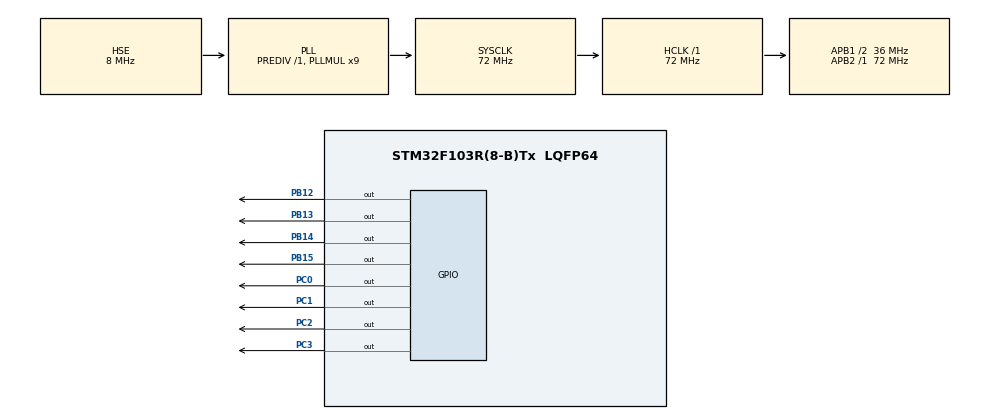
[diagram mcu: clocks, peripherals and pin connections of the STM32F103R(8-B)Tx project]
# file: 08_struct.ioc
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Mcu.Family=STM32F1
Mcu.Name=STM32F103R(8-B)Tx
Mcu.Package=LQFP64
NVIC.PriorityGroup=NVIC_PRIORITYGROUP_4
PB12.Signal=GPIO_Output
PB13.Signal=GPIO_Output
PB14.Signal=GPIO_Output
PB15.Signal=GPIO_Output
PC0.Signal=GPIO_Output
PC1.Signal=GPIO_Output
PC14-OSC32_IN.Mode=LSE-External-Oscillator
PC14-OSC32_IN.Signal=RCC_OSC32_IN
PC15-OSC32_OUT.Mode=LSE-External-Oscillator
PC15-OSC32_OUT.Signal=RCC_OSC32_OUT
PC2.Signal=GPIO_Output
PC3.Signal=GPIO_Output
PD0-OSC_IN.Mode=HSE-External-Clock-Source
PD0-OSC_IN.Signal=RCC_OSC_IN
PD1-OSC_OUT.Mode=HSE-External-Clock-Source
PD1-OSC_OUT.Signal=RCC_OSC_OUT
ProjectManager.HeapSize=0x200
ProjectManager.StackSize=0x400
ProjectManager.TargetToolchain=STM32CubeIDE
RCC.AHBFreq_Value=72000000
RCC.APB1CLKDivider=RCC_HCLK_DIV2
RCC.APB1Freq_Value=36000000
RCC.APB1TimFreq_Value=72000000
RCC.APB2Freq_Value=72000000
RCC.APB2TimFreq_Value=72000000
RCC.HCLKFreq_Value=72000000
RCC.PLLMUL=RCC_PLL_MUL9
RCC.PLLSourceVirtual=RCC_PLLSOURCE_HSE
RCC.SYSCLKFreq_VALUE=72000000
RCC.SYSCLKSource=RCC_SYSCLKSOURCE_PLLCLK
RCC.USBFreq_Value=72000000
board=custom

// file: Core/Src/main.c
/* USER CODE BEGIN Header */
/**
  ******************************************************************************
  * @file           : main.c
  * @brief          : Main program body
  ******************************************************************************
  * @attention
  *
  * Copyright (c) 2023 STMicroelectronics.
  * All rights reserved.
  *
  * This software is licensed under terms that can be found in the LICENSE file
  * in the root directory of this software component.
  * If no LICENSE file comes with this software, it is provided AS-IS.
  *
  ******************************************************************************
  */
/* USER CODE END Header */
#include "main.h"

void SystemClock_Config(void);
static void MX_GPIO_Init(void);

int main(void)
{

  /* MCU Configuration--------------------------------------------------------*/

  /* Reset of all peripherals, Initializes the Flash interface and the Systick. */
  HAL_Init();

  /* Configure the system clock */
  SystemClock_Config();

  /* Initialize all configured peripherals */
  MX_GPIO_Init();
  /* USER CODE BEGIN 2 */
  typedef struct led{
	  GPIO_TypeDef *port;
	  uint16_t pin;
  } LED;
  LED led[8] = {
		  {GPIOC, GPIO_PIN_3}, {GPIOC, GPIO_PIN_2},
		  {GPIOC, GPIO_PIN_1}, {GPIOC, GPIO_PIN_0},
		  {GPIOB, GPIO_PIN_15}, {GPIOB, GPIO_PIN_14},
		  {GPIOB, GPIO_PIN_13}, {GPIOB, GPIO_PIN_12}
  };

  /* USER CODE END 2 */

  /* Infinite loop */
  /* USER CODE BEGIN WHILE */
  while (1)
  {
	  for(uint8_t i=0;i<8;i++){
		  HAL_GPIO_WritePin(led[i].port, led[i].pin, GPIO_PIN_SET);
		  HAL_Delay(100);
		  HAL_GPIO_WritePin(led[i].port, led[i].pin, GPIO_PIN_RESET);
		  HAL_Delay(100);
	  }
	  for(uint8_t i=6;i>0;i--){
		  HAL_GPIO_WritePin(led[i].port, led[i].pin, GPIO_PIN_SET);
	      HAL_Delay(100);
	      HAL_GPIO_WritePin(led[i].port, led[i].pin, GPIO_PIN_RESET);
	      HAL_Delay(100);
	  }

    /* USER CODE END WHILE */

  }
}

void SystemClock_Config(void)
{
  RCC_OscInitTypeDef RCC_OscInitStruct = {0};
  RCC_ClkInitTypeDef RCC_ClkInitStruct = {0};

  /** Initializes the RCC Oscillators according to the specified parameters
  * in the RCC_OscInitTypeDef structure.
  */
  RCC_OscInitStruct.OscillatorType = RCC_OSCILLATORTYPE_HSE;
  RCC_OscInitStruct.HSEState = RCC_HSE_BYPASS;
  RCC_OscInitStruct.HSEPredivValue = RCC_HSE_PREDIV_DIV1;
  RCC_OscInitStruct.HSIState = RCC_HSI_ON;
  RCC_OscInitStruct.PLL.PLLState = RCC_PLL_ON;
  RCC_OscInitStruct.PLL.PLLSource = RCC_PLLSOURCE_HSE;
  RCC_OscInitStruct.PLL.PLLMUL = RCC_PLL_MUL9;
  if (HAL_RCC_OscConfig(&RCC_OscInitStruct) != HAL_OK)
  {
    Error_Handler();
  }

  /** Initializes the CPU, AHB and APB buses clocks
  */
  RCC_ClkInitStruct.ClockType = RCC_CLOCKTYPE_HCLK|RCC_CLOCKTYPE_SYSCLK
                              |RCC_CLOCKTYPE_PCLK1|RCC_CLOCKTYPE_PCLK2;
  RCC_ClkInitStruct.SYSCLKSource = RCC_SYSCLKSOURCE_PLLCLK;
  RCC_ClkInitStruct.AHBCLKDivider = RCC_SYSCLK_DIV1;
  RCC_ClkInitStruct.APB1CLKDivider = RCC_HCLK_DIV2;
  RCC_ClkInitStruct.APB2CLKDivider = RCC_HCLK_DIV1;

  if (HAL_RCC_ClockConfig(&RCC_ClkInitStruct, FLASH_LATENCY_2) != HAL_OK)
  {
    Error_Handler();
  }
}

static void MX_GPIO_Init(void)
{
  GPIO_InitTypeDef GPIO_InitStruct = {0};

  /* GPIO Ports Clock Enable */
  __HAL_RCC_GPIOC_CLK_ENABLE();
  __HAL_RCC_GPIOD_CLK_ENABLE();
  __HAL_RCC_GPIOB_CLK_ENABLE();

  /*Configure GPIO pin Output Level */
  HAL_GPIO_WritePin(GPIOC, GPIO_PIN_0|GPIO_PIN_1|GPIO_PIN_2|GPIO_PIN_3, GPIO_PIN_RESET);

  /*Configure GPIO pin Output Level */
  HAL_GPIO_WritePin(GPIOB, GPIO_PIN_12|GPIO_PIN_13|GPIO_PIN_14|GPIO_PIN_15, GPIO_PIN_RESET);

  /*Configure GPIO pins : PC0 PC1 PC2 PC3 */
  GPIO_InitStruct.Pin = GPIO_PIN_0|GPIO_PIN_1|GPIO_PIN_2|GPIO_PIN_3;
  GPIO_InitStruct.Mode = GPIO_MODE_OUTPUT_PP;
  GPIO_InitStruct.Pull = GPIO_NOPULL;
  GPIO_InitStruct.Speed = GPIO_SPEED_FREQ_LOW;
  HAL_GPIO_Init(GPIOC, &GPIO_InitStruct);

  /*Configure GPIO pins : PB12 PB13 PB14 PB15 */
  GPIO_InitStruct.Pin = GPIO_PIN_12|GPIO_PIN_13|GPIO_PIN_14|GPIO_PIN_15;
  GPIO_InitStruct.Mode = GPIO_MODE_OUTPUT_PP;
  GPIO_InitStruct.Pull = GPIO_NOPULL;
  GPIO_InitStruct.Speed = GPIO_SPEED_FREQ_LOW;
  HAL_GPIO_Init(GPIOB, &GPIO_InitStruct);

}

void Error_Handler(void)
{
  __disable_irq();
  while (1)
  {
  }
}
